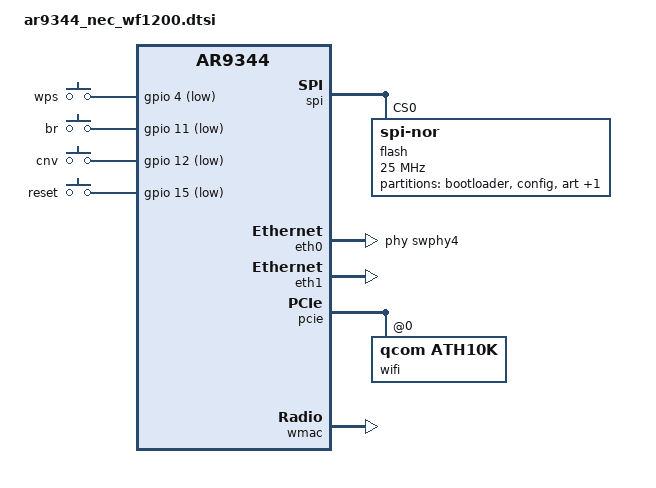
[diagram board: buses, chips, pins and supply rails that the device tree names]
// SPDX-License-Identifier: GPL-2.0-or-later OR MIT

#include <dt-bindings/gpio/gpio.h>
#include <dt-bindings/input/input.h>
#include <dt-bindings/leds/common.h>

#include "ar9344.dtsi"

/ {
	aliases {
		label-mac-device = &eth0;
	};

	chosen {
		/*
		 * don't specify bootargs property in DeviceTree to
		 * enable a console with a default baudrate (9600)
		 * or passed console= parameter from the bootloader
		 */
		/delete-property/ bootargs;
		stdout-path = &uart;
	};

	keys {
		compatible = "gpio-keys";

		button-wps {
			label = "wps";
			gpios = <&gpio 4 GPIO_ACTIVE_LOW>;
			linux,code = <KEY_WPS_BUTTON>;
			debounce-interval = <60>;
		};

		switch-bridge {
			label = "br";
			gpios = <&gpio 11 GPIO_ACTIVE_LOW>;
			linux,code = <BTN_0>;
			debounce-interval = <60>;
		};

		switch-coverter {
			label = "cnv";
			gpios = <&gpio 12 GPIO_ACTIVE_LOW>;
			linux,code = <BTN_1>;
			debounce-interval = <60>;
		};

		button-reset {
			label = "reset";
			gpios = <&gpio 15 GPIO_ACTIVE_LOW>;
			linux,code = <KEY_RESTART>;
			debounce-interval = <60>;
		};
	};

	/* all LEDs are connected to ath10k chip (QCA9882) */
};

&ref {
	clock-frequency = <40000000>;
};

&spi {
	status = "okay";

	flash@0 {
		compatible = "jedec,spi-nor";
		reg = <0>;
		spi-max-frequency = <25000000>;

		partitions {
			compatible = "fixed-partitions";
			#address-cells = <1>;
			#size-cells = <1>;

			/*
			 * since the OEM bootloader requires unknown
			 * filesystem on firmware area, needs to be
			 * replaced to u-boot before OpenWrt installation
			 */
			partition@0 {
				label = "bootloader";
				reg = <0x000000 0x020000>;
			};

			/* not compatible with u-boot */
			partition@20000 {
				label = "config";
				reg = <0x020000 0x010000>;
				read-only;

				nvmem-layout {
					compatible = "fixed-layout";
					#address-cells = <1>;
					#size-cells = <1>;

					macaddr_config_0: mac-address@0 {
						reg = <0x0 0x6>;
					};

					macaddr_config_6: mac-address@6 {
						reg = <0x6 0x6>;
					};

					macaddr_config_c: mac-address@c {
						reg = <0xc 0x6>;
					};

					macaddr_config_12: mac-address@12 {
						reg = <0x12 0x6>;
					};
				};
			};

			partition@30000 {
				label = "art";
				reg = <0x030000 0x010000>;
				read-only;

				nvmem-layout {
					compatible = "fixed-layout";
					#address-cells = <1>;
					#size-cells = <1>;

					cal_art_1000: calibration@1000 {
						reg = <0x1000 0x440>;
					};

					cal_art_5000: calibration@5000 {
						reg = <0x5000 0x844>;
					};
				};
			};

			partition@40000 {
				compatible = "denx,uimage";
				label = "firmware";
				reg = <0x040000 0x7c0000>;
			};
		};
	};
};

&eth0 {
	status = "okay";

	phy-handle = <&swphy4>;

	nvmem-cells = <&macaddr_config_c>;
	nvmem-cell-names = "mac-address";
};

&eth1 {
	status = "okay";

	nvmem-cells = <&macaddr_config_6>;
	nvmem-cell-names = "mac-address";
};

&pcie {
	status = "okay";

	wifi@0,0 {
		compatible = "qcom,ath10k";
		reg = <0x0000 0 0 0 0>;

		nvmem-cells = <&cal_art_5000>, <&macaddr_config_12>;
		nvmem-cell-names = "calibration", "mac-address";
	};
};

&wmac {
	status = "okay";

	nvmem-cells = <&cal_art_1000>, <&macaddr_config_0>;
	nvmem-cell-names = "calibration", "mac-address";
};
